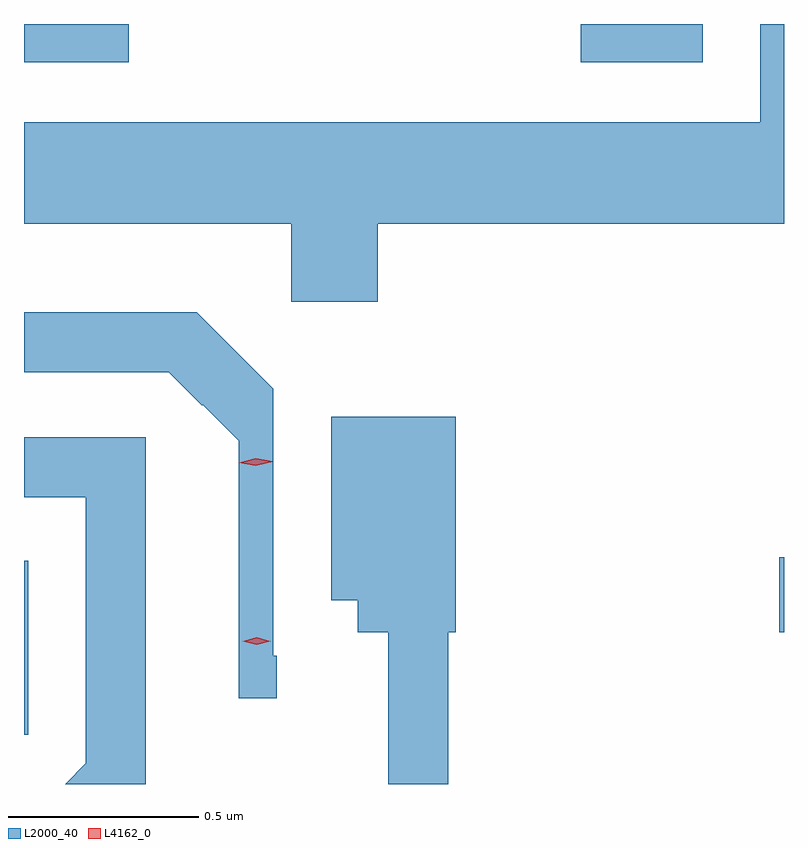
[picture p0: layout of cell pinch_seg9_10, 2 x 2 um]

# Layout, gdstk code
import gdstk
lib = gdstk.Library(unit=1e-6, precision=1e-09)
def R(c, l, rs):  # rectangles x0, y0, x1, y1
    for r in rs: c.add(gdstk.rectangle(r[:2], r[2:], *l))
def P(c, l, *ps):  # polygons
    for p in ps: c.add(gdstk.Polygon(p, *l))
L2000_40 = (2000, 40)
L4162_0 = (4162, 0)

pinch_seg9_10 = lib.new_cell('pinch_seg9_10')
R(pinch_seg9_10, L2000_40, [(1065.018,1966.051,1065.029,1966.509), (1067.006,1966.321,1067.018,1966.519), (1065.018,1967.821,1065.294,1967.922), (1066.483,1967.821,1066.804,1967.922)])
P(pinch_seg9_10, L2000_40, [(1065.949,1967.396),(1067.018,1967.396),(1067.018,1967.922),(1066.956,1967.922),(1066.956,1967.664),(1065.018,1967.664),(1065.018,1967.396),(1065.721,1967.396),(1065.721,1967.191),(1065.949,1967.191)],
  [(1065.683,1966.26),(1065.674,1966.26),(1065.674,1966.962),(1065.472,1967.164),(1065.018,1967.164),(1065.018,1967.006),(1065.399,1967.006),(1065.487,1966.918),(1065.488,1966.92),(1065.583,1966.825),(1065.583,1966.148),(1065.683,1966.148)],
  [(1066.134,1966.321),(1066.154,1966.321),(1066.154,1966.889),(1065.826,1966.889),(1065.826,1966.406),(1065.896,1966.406),(1065.896,1966.321),(1065.976,1966.321),(1065.976,1965.922),(1066.134,1965.922)],
  [(1065.339,1966.834),(1065.018,1966.834),(1065.018,1966.676),(1065.181,1966.676),(1065.181,1965.977),(1065.126,1965.922),(1065.339,1965.922)])
P(pinch_seg9_10, L4162_0, [(1065.628,1966.76),(1065.583,1966.768),(1065.583,1966.768),(1065.583,1966.768),(1065.628,1966.779),(1065.672,1966.771),(1065.672,1966.771),(1065.672,1966.77)],
  [(1065.63,1966.288),(1065.593,1966.298),(1065.592,1966.298),(1065.593,1966.298),(1065.63,1966.308),(1065.666,1966.298),(1065.667,1966.298),(1065.666,1966.298)])

lib.write_gds('pinch_seg9_10.gds')
